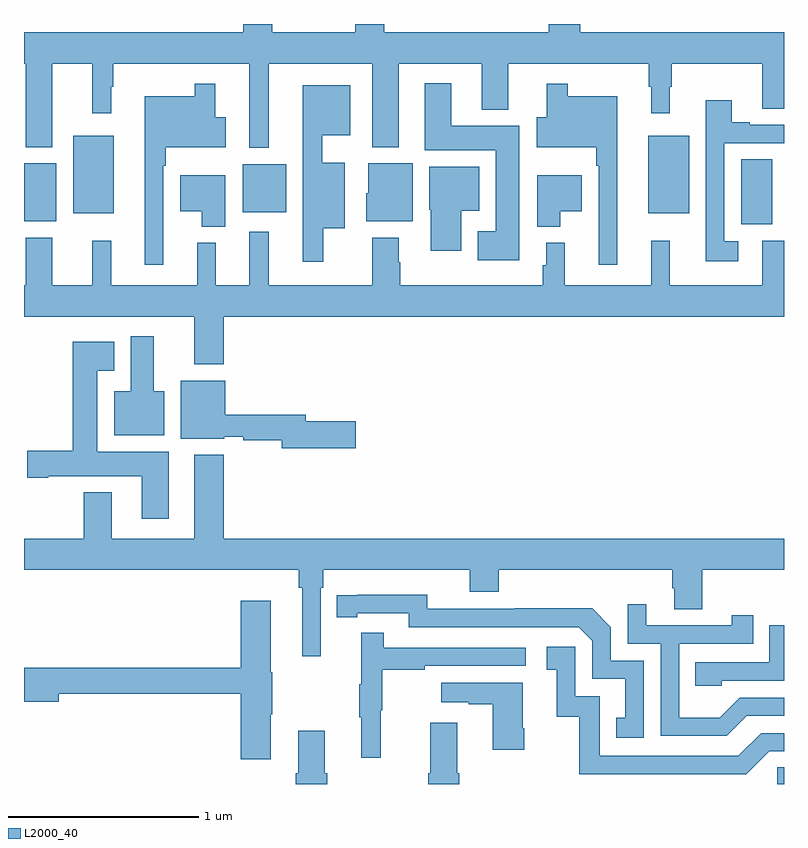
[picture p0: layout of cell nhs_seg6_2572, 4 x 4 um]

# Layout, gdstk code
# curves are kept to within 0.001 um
import gdstk
lib = gdstk.Library(unit=1e-6, precision=1e-09)
def R(c, l, rs):  # rectangles x0, y0, x1, y1
    for r in rs: c.add(gdstk.rectangle(r[:2], r[2:], *l))
def P(c, l, *ps):  # polygons
    for p in ps: c.add(gdstk.Polygon(p, *l))
L2000_40 = (2000, 40)

nhs_seg6_2572 = lib.new_cell('nhs_seg6_2572')
R(nhs_seg6_2572, L2000_40, [(266.964,987.5,267,987.587), (266.774,990.445,266.938,990.788), (263,990.461,263.17,990.766), (263.258,990.503,263.473,990.913), (266.285,990.503,266.5,990.913), (264.152,990.509,264.379,990.763)])
P(nhs_seg6_2572, L2000_40, [(265.928,991.5),(265.763,991.5),(265.763,991.456),(264.896,991.456),(264.896,991.5),(264.743,991.5),(264.743,991.456),(264.307,991.456),(264.307,991.5),(264.155,991.5),(264.155,991.456),(263,991.456),(263,991.292),(263.009,991.292),(263.009,990.851),(263.149,990.851),(263.149,991.292),(263.36,991.292),(263.36,991.029),(263.458,991.029),(263.458,991.169),(263.47,991.169),(263.47,991.292),(264.185,991.292),(264.185,990.848),(264.289,990.848),(264.289,991.292),(264.833,991.292),(264.833,990.851),(264.973,990.851),(264.973,991.292),(265.409,991.292),(265.409,991.049),(265.549,991.049),(265.549,991.292),(266.289,991.292),(266.289,991.169),(266.3,991.169),(266.3,991.029),(266.399,991.029),(266.399,991.169),(266.41,991.169),(266.41,991.292),(266.885,991.292),(266.885,991.054),(267,991.054),(267,991.456),(265.928,991.456)],
  [(265.606,990.964),(265.249,990.964),(265.249,991.189),(265.109,991.189),(265.109,990.836),(265.484,990.836),(265.484,990.409),(265.389,990.409),(265.389,990.257),(265.606,990.257)],
  [(266.122,991.12),(265.861,991.12),(265.861,991.186),(265.751,991.186),(265.751,991.009),(265.698,991.009),(265.698,990.851),(266.013,990.851),(266.013,990.755),(266.025,990.755),(266.025,990.234),(266.122,990.234)],
  [(263.733,990.755),(263.746,990.755),(263.746,990.851),(264.061,990.851),(264.061,991.009),(264.007,991.009),(264.007,991.186),(263.898,991.186),(263.898,991.12),(263.636,991.12),(263.636,990.234),(263.733,990.234)],
  [(264.574,990.425),(264.688,990.425),(264.688,990.769),(264.571,990.769),(264.571,990.914),(264.718,990.914),(264.718,991.177),(264.467,991.177),(264.467,990.249),(264.574,990.249)],
  [(266.758,990.357),(266.685,990.357),(266.685,990.873),(267,990.873),(267,990.969),(266.821,990.969),(266.821,990.982),(266.725,990.982),(266.725,991.099),(266.589,991.099),(266.589,990.252),(266.758,990.252)],
  [(265.045,990.766),(264.812,990.766),(264.812,990.609),(264.8,990.609),(264.8,990.461),(265.045,990.461)],
  [(265.3,990.518),(265.396,990.518),(265.396,990.748),(265.133,990.748),(265.133,990.522),(265.142,990.522),(265.142,990.306),(265.3,990.306)],
  [(265.822,990.515),(265.936,990.515),(265.936,990.703),(265.7,990.703),(265.7,990.434),(265.822,990.434)],
  [(264.058,990.703),(263.822,990.703),(263.822,990.515),(263.936,990.515),(263.936,990.434),(264.058,990.434)],
  [(267,990.36),(266.885,990.36),(266.885,990.124),(266.399,990.124),(266.399,990.358),(266.3,990.358),(266.3,990.124),(265.847,990.124),(265.847,990.349),(265.748,990.349),(265.748,990.231),(265.729,990.231),(265.729,990.124),(264.981,990.124),(264.981,990.245),(264.973,990.245),(264.973,990.376),(264.833,990.376),(264.833,990.124),(264.289,990.124),(264.289,990.406),(264.185,990.406),(264.185,990.124),(264.01,990.124),(264.01,990.349),(263.912,990.349),(263.912,990.124),(263.459,990.124),(263.459,990.358),(263.36,990.358),(263.36,990.124),(263.149,990.124),(263.149,990.376),(263.009,990.376),(263.009,990.124),(263,990.124),(263,989.96),(263.897,989.96),(263.897,989.708),(264.05,989.708),(264.05,989.96),(267,989.96)],
  [(263.737,989.566),(263.683,989.566),(263.683,989.857),(263.561,989.857),(263.561,989.566),(263.474,989.566),(263.474,989.336),(263.737,989.336)],
  [(263.761,989.248),(263.386,989.248),(263.386,989.675),(263.476,989.675),(263.476,989.827),(263.257,989.827),(263.257,989.255),(263.016,989.255),(263.016,989.113),(263.128,989.113),(263.128,989.12),(263.621,989.12),(263.621,988.896),(263.761,988.896)],
  [(264.745,989.408),(264.484,989.408),(264.484,989.444),(264.058,989.444),(264.058,989.623),(263.825,989.623),(263.825,989.318),(264.054,989.318),(264.054,989.328),(264.154,989.328),(264.154,989.308),(264.356,989.308),(264.356,989.266),(264.745,989.266)],
  [(264.05,989.233),(263.897,989.233),(263.897,988.792),(263.461,988.792),(263.461,989.035),(263.314,989.035),(263.314,988.792),(263,988.792),(263,988.628),(264.445,988.628),(264.445,988.532),(264.464,988.532),(264.464,988.173),(264.561,988.173),(264.561,988.532),(264.575,988.532),(264.575,988.628),(265.346,988.628),(265.346,988.511),(265.499,988.511),(265.499,988.628),(266.411,988.628),(266.411,988.53),(266.423,988.53),(266.423,988.42),(266.571,988.42),(266.571,988.628),(267,988.628),(267,988.792),(264.05,988.792)],
  [(266.262,988.149),(266.088,988.149),(266.088,988.326),(265.99,988.424),(265.582,988.424),(265.582,988.422),(265.122,988.422),(265.122,988.495),(264.646,988.494),(264.646,988.378),(264.754,988.378),(264.754,988.398),(265.026,988.398),(265.026,988.326),(265.92,988.326),(265.992,988.254),(265.992,988.053),(266.165,988.053),(266.165,987.849),(266.116,987.849),(266.116,987.744),(266.262,987.744)],
  [(264.298,987.868),(264.306,987.868),(264.306,988.089),(264.298,988.089),(264.298,988.465),(264.14,988.465),(264.14,988.112),(263,988.112),(263,987.934),(263.182,987.934),(263.182,987.976),(264.14,987.976),(264.14,987.63),(264.298,987.63)],
  [(266.803,987.858),(267,987.858),(267,987.954),(266.766,987.954),(266.662,987.85),(266.448,987.85),(266.448,988.239),(266.837,988.239),(266.837,988.387),(266.726,988.387),(266.726,988.335),(266.275,988.335),(266.275,988.447),(266.178,988.447),(266.178,988.239),(266.352,988.239),(266.352,987.753),(266.698,987.753)],
  [(266.673,988.044),(267,988.044),(267,988.335),(266.922,988.335),(266.922,988.14),(266.533,988.14),(266.533,988.017),(266.673,988.017)],
  [(264.878,987.888),(264.886,987.888),(264.886,988.102),(265.109,988.102),(265.109,988.122),(265.642,988.122),(265.642,988.218),(264.893,988.218),(264.893,988.297),(264.776,988.297),(264.776,988.025),(264.765,988.025),(264.765,987.851),(264.776,987.851),(264.776,987.639),(264.878,987.639)],
  [(266.922,987.672),(267,987.672),(267,987.768),(266.88,987.768),(266.76,987.648),(266.031,987.648),(266.031,987.963),(265.902,987.963),(265.902,988.222),(265.752,988.222),(265.752,988.101),(265.805,988.101),(265.805,987.855),(265.923,987.855),(265.923,987.552),(266.802,987.552)],
  [(265.632,987.793),(265.624,987.793),(265.624,988.033),(265.197,988.033),(265.197,987.929),(265.34,987.929),(265.34,987.919),(265.466,987.919),(265.466,987.681),(265.632,987.681)],
  [(265.292,987.556),(265.279,987.556),(265.279,987.823),(265.139,987.823),(265.139,987.556),(265.127,987.556),(265.127,987.5),(265.292,987.5)],
  [(264.596,987.556),(264.583,987.556),(264.583,987.781),(264.443,987.781),(264.443,987.556),(264.431,987.556),(264.431,987.5),(264.596,987.5)])

lib.write_gds('nhs_seg6_2572.gds')
